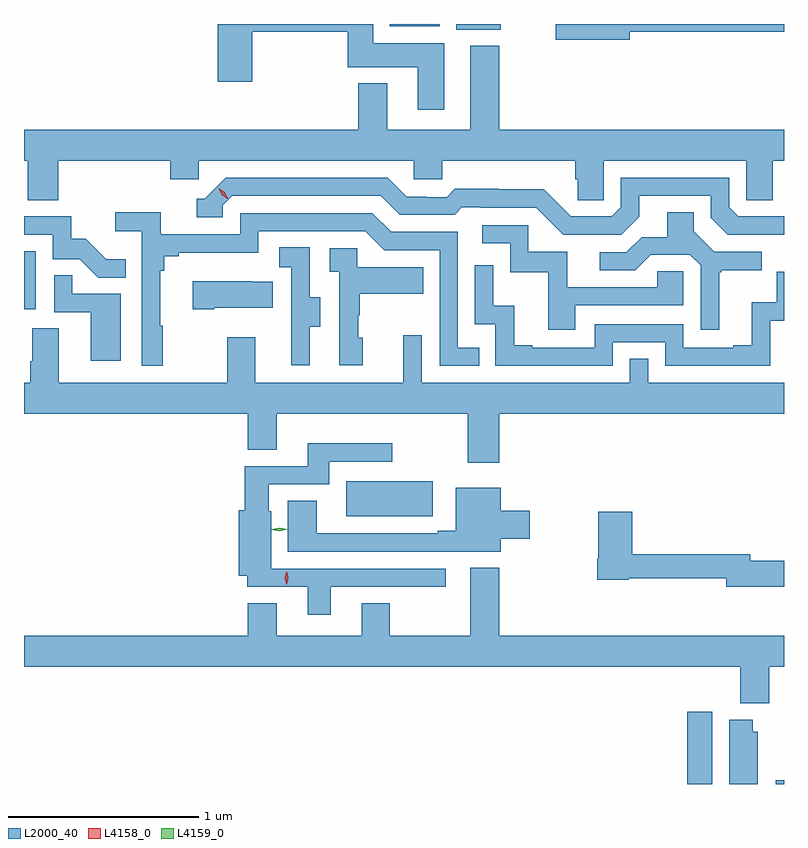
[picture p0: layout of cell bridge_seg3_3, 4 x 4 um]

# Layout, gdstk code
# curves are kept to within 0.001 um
import gdstk
lib = gdstk.Library(unit=1e-6, precision=1e-09)
def R(c, l, rs):  # rectangles x0, y0, x1, y1
    for r in rs: c.add(gdstk.rectangle(r[:2], r[2:], *l))
def P(c, l, *ps):  # polygons
    for p in ps: c.add(gdstk.Polygon(p, *l))
L2000_40 = (2000, 40)
L4158_0 = (4158, 0)
L4159_0 = (4159, 0)

bridge_seg3_3 = lib.new_cell('bridge_seg3_3')
R(bridge_seg3_3, L2000_40, [(1013.846,718.948,1013.977,719.329), (1014.311,718.948,1014.355,718.969), (1010.355,721.446,1010.416,721.753), (1012.631,722.918,1012.864,722.948), (1012.28,722.936,1012.543,722.948)])
P(bridge_seg3_3, L2000_40, [(1013.542,722.908),(1014.355,722.908),(1014.355,722.948),(1013.154,722.948),(1013.154,722.866),(1013.542,722.866)],
  [(1012.567,722.848),(1012.192,722.848),(1012.192,722.948),(1011.374,722.948),(1011.374,722.643),(1011.557,722.643),(1011.557,722.908),(1012.058,722.908),(1012.058,722.72),(1012.427,722.72),(1012.427,722.496),(1012.567,722.496)],
  [(1010.534,722.228),(1011.125,722.228),(1011.125,722.13),(1011.276,722.13),(1011.276,722.228),(1012.407,722.228),(1012.407,722.13),(1012.557,722.13),(1012.557,722.228),(1013.255,722.228),(1013.255,722.13),(1013.269,722.13),(1013.269,722.02),(1013.406,722.02),(1013.406,722.228),(1014.156,722.228),(1014.156,722.02),(1014.295,722.02),(1014.295,722.228),(1014.355,722.228),(1014.355,722.392),(1012.856,722.392),(1012.856,722.833),(1012.703,722.833),(1012.703,722.392),(1012.267,722.392),(1012.267,722.635),(1012.115,722.635),(1012.115,722.392),(1010.355,722.392),(1010.355,722.228),(1010.374,722.228),(1010.374,722.02),(1010.534,722.02)],
  [(1014.355,721.935),(1014.114,721.935),(1014.066,721.983),(1014.066,722.139),(1013.496,722.139),(1013.496,721.983),(1013.448,721.935),(1013.232,721.935),(1013.09,722.077),(1012.854,722.077),(1012.854,722.08),(1012.621,722.08),(1012.579,722.037),(1012.476,722.037),(1012.476,722.04),(1012.369,722.04),(1012.27,722.139),(1011.417,722.139),(1011.306,722.028),(1011.263,722.028),(1011.263,721.932),(1011.402,721.932),(1011.402,721.995),(1011.45,722.043),(1012.233,722.043),(1012.332,721.944),(1012.621,721.944),(1012.66,721.983),(1012.759,721.983),(1012.759,721.98),(1013.052,721.98),(1013.193,721.839),(1013.499,721.839),(1013.593,721.933),(1013.593,722.043),(1013.97,722.043),(1013.97,721.929),(1014.06,721.839),(1014.355,721.838)],
  [(1011.085,721.361),(1011.073,721.361),(1011.073,721.649),(1011.092,721.649),(1011.092,721.726),(1011.169,721.726),(1011.169,721.745),(1011.588,721.745),(1011.588,721.857),(1012.152,721.857),(1012.251,721.758),(1012.542,721.758),(1012.542,721.149),(1012.751,721.149),(1012.751,721.245),(1012.638,721.245),(1012.638,721.854),(1012.288,721.854),(1012.189,721.953),(1011.492,721.953),(1011.492,721.842),(1011.074,721.842),(1011.074,721.958),(1010.835,721.958),(1010.835,721.856),(1010.976,721.856),(1010.976,721.149),(1011.085,721.149)],
  [(1014.013,721.641),(1014.025,721.641),(1014.025,721.652),(1014.238,721.652),(1014.238,721.749),(1013.988,721.749),(1013.881,721.856),(1013.881,721.958),(1013.741,721.958),(1013.741,721.826),(1013.606,721.826),(1013.526,721.746),(1013.385,721.746),(1013.385,721.653),(1013.572,721.653),(1013.653,721.734),(1013.859,721.734),(1013.916,721.677),(1013.916,721.338),(1014.013,721.338)],
  [(1010.891,721.711),(1010.787,721.711),(1010.68,721.818),(1010.604,721.818),(1010.604,721.935),(1010.355,721.935),(1010.355,721.839),(1010.505,721.839),(1010.505,721.71),(1010.649,721.71),(1010.747,721.612),(1010.891,721.612)],
  [(1013.257,721.467),(1013.826,721.467),(1013.826,721.647),(1013.689,721.647),(1013.689,721.563),(1013.215,721.563),(1013.215,721.749),(1013.01,721.749),(1013.01,721.89),(1012.767,721.89),(1012.767,721.794),(1012.914,721.794),(1012.914,721.641),(1013.113,721.641),(1013.113,721.338),(1013.257,721.338)],
  [(1011.859,721.354),(1011.913,721.354),(1011.913,721.509),(1011.858,721.509),(1011.858,721.772),(1011.699,721.772),(1011.699,721.669),(1011.762,721.669),(1011.762,721.365),(1011.761,721.365),(1011.761,721.152),(1011.859,721.152)],
  [(1012.138,721.296),(1012.113,721.296),(1012.113,721.415),(1012.123,721.415),(1012.123,721.529),(1012.457,721.529),(1012.457,721.669),(1012.11,721.669),(1012.11,721.767),(1011.963,721.767),(1011.963,721.643),(1012.014,721.643),(1012.014,721.152),(1012.138,721.152)],
  [(1013.454,721.272),(1013.73,721.272),(1013.73,721.149),(1014.282,721.149),(1014.282,721.385),(1014.355,721.385),(1014.355,721.644),(1014.318,721.644),(1014.318,721.483),(1014.185,721.483),(1014.185,721.258),(1014.089,721.258),(1014.089,721.245),(1013.826,721.245),(1013.826,721.368),(1013.358,721.368),(1013.358,721.245),(1013.029,721.245),(1013.029,721.258),(1012.934,721.258),(1012.934,721.466),(1012.824,721.466),(1012.824,721.678),(1012.728,721.678),(1012.728,721.368),(1012.836,721.368),(1012.836,721.149),(1013.454,721.149)],
  [(1010.863,721.527),(1010.609,721.527),(1010.609,721.625),(1010.514,721.625),(1010.514,721.431),(1010.705,721.431),(1010.705,721.176),(1010.863,721.176)],
  [(1011.355,721.454),(1011.665,721.454),(1011.665,721.591),(1011.557,721.591),(1011.557,721.594),(1011.243,721.594),(1011.243,721.447),(1011.355,721.447)],
  [(1012.856,720.896),(1014.355,720.896),(1014.355,721.06),(1013.64,721.06),(1013.64,721.187),(1013.544,721.187),(1013.544,721.06),(1012.449,721.06),(1012.449,721.309),(1012.352,721.309),(1012.352,721.06),(1011.571,721.06),(1011.571,721.3),(1011.424,721.3),(1011.424,721.06),(1010.539,721.06),(1010.539,721.346),(1010.399,721.346),(1010.399,721.172),(1010.387,721.172),(1010.387,721.06),(1010.355,721.06),(1010.355,720.896),(1011.533,720.896),(1011.533,720.706),(1011.685,720.706),(1011.685,720.896),(1012.691,720.896),(1012.691,720.639),(1012.856,720.639)],
  [(1011.97,719.985),(1012.576,719.985),(1012.576,720.081),(1011.655,720.081),(1011.655,720.384),(1011.643,720.384),(1011.643,720.525),(1011.961,720.525),(1011.961,720.645),(1012.294,720.645),(1012.294,720.742),(1011.848,720.742),(1011.848,720.621),(1011.518,720.621),(1011.518,720.388),(1011.485,720.388),(1011.485,720.044),(1011.53,720.044),(1011.53,719.985),(1011.848,719.985),(1011.848,719.838),(1011.97,719.838)],
  [(1012.403,720.357),(1012.506,720.357),(1012.506,720.541),(1012.052,720.541),(1012.052,720.356),(1012.403,720.356)],
  [(1012.864,720.239),(1013.017,720.239),(1013.017,720.386),(1012.864,720.386),(1012.864,720.508),(1012.628,720.508),(1012.628,720.281),(1012.532,720.281),(1012.532,720.267),(1011.895,720.267),(1011.895,720.439),(1011.743,720.439),(1011.743,720.171),(1012.864,720.171)],
  [(1014.355,720.122),(1014.178,720.122),(1014.178,720.158),(1013.555,720.158),(1013.555,720.382),(1013.377,720.382),(1013.377,720.133),(1013.372,720.133),(1013.372,720.022),(1013.538,720.022),(1013.538,720.03),(1014.05,720.03),(1014.05,719.987),(1014.355,719.987)],
  [(1014.125,719.372),(1014.277,719.372),(1014.277,719.564),(1014.355,719.564),(1014.355,719.728),(1012.856,719.728),(1012.856,720.085),(1012.703,720.085),(1012.703,719.728),(1012.281,719.728),(1012.281,719.9),(1012.133,719.9),(1012.133,719.728),(1011.685,719.728),(1011.685,719.9),(1011.533,719.9),(1011.533,719.728),(1010.355,719.728),(1010.355,719.564),(1014.125,719.564)],
  [(1014.217,719.223),(1014.19,719.223),(1014.19,719.287),(1014.068,719.287),(1014.068,718.948),(1014.217,718.948)])
P(bridge_seg3_3, L4158_0, [(1011.737,719.998),(1011.737,719.998),(1011.727,720.033),(1011.737,720.069),(1011.737,720.069),(1011.738,720.069),(1011.747,720.033),(1011.737,719.998)],
  [(1011.426,722.029),(1011.396,722.049),(1011.38,722.082),(1011.38,722.083),(1011.38,722.083),(1011.411,722.062),(1011.427,722.029),(1011.427,722.029)])
P(bridge_seg3_3, L4159_0, [(1011.7,720.278),(1011.66,720.287),(1011.659,720.287),(1011.66,720.288),(1011.7,720.298),(1011.74,720.288),(1011.741,720.288),(1011.74,720.288)])

lib.write_gds('bridge_seg3_3.gds')
